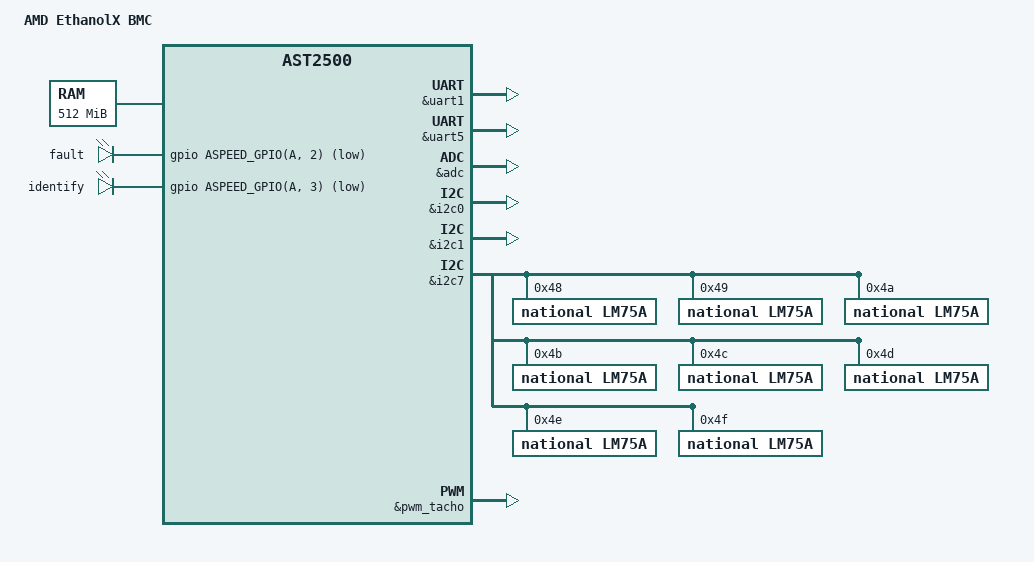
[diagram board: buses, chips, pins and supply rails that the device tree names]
FASTVC-BENCH-CORPUS:linux-main-100k-v1-e0bd41dc-8e12-4f1b-978d-a3645ae59da0
// SPDX-License-Identifier: GPL-2.0
// Copyright (c) 2020 AMD Inc.
// Author: Supreeth Venkatesh <supreeth.venkatesh@amd.com>
/dts-v1/;

#include "aspeed-g5.dtsi"
#include <dt-bindings/gpio/aspeed-gpio.h>

/ {
	model = "AMD EthanolX BMC";
	compatible = "amd,ethanolx-bmc", "aspeed,ast2500";

	memory@80000000 {
		reg = <0x80000000 0x20000000>;
/* bench 26730.0.0 5deec0b073e8 */
/* bench 26730.0.1 8fcf7ec41b2d */
/* bench 26730.0.2 946cabfab198 */
/* bench 26730.0.3 e2d413694dc7 */
/* bench 26730.0.4 314ecaf3927c */
/* bench 26730.0.5 b0099b393295 */
/* bench 26730.0.6 23c7b99d8a6a */
/* bench 26730.0.7 7b6b8dd8c392 */
/* bench 26730.0.8 72d9bf55c637 */
/* bench 26730.0.9 015c878cd2c8 */
/* bench 26730.0.10 45d12a799ee1 */
/* bench 26730.0.11 bee4b9d6593e */
/* bench 26730.0.12 d8d9813acc7a */

	reserved-memory {
		#address-cells = <1>;
		#size-cells = <1>;
		ranges;

		video_engine_memory: jpegbuffer {
			size = <0x02000000>;	/* 32M */
			alignment = <0x01000000>;
			compatible = "shared-dma-pool";
			reusable;
		};
	};


	aliases {
		serial0 = &uart1;
		serial4 = &uart5;
	};
	chosen {
		stdout-path = &uart5;
		bootargs = "console=ttyS4,115200 earlyprintk";
	};
	leds {
		compatible = "gpio-leds";

		fault {
			gpios = <&gpio ASPEED_GPIO(A, 2) GPIO_ACTIVE_LOW>;
		};

		identify {
			gpios = <&gpio ASPEED_GPIO(A, 3) GPIO_ACTIVE_LOW>;
		};
	};
	iio-hwmon {
		compatible = "iio-hwmon";
		io-channels = <&adc 0>, <&adc 1>, <&adc 2>, <&adc 3>, <&adc 4>;
	};
};

&fmc {
	status = "okay";
	flash@0 {
		status = "okay";
		m25p,fast-read;
		#include "openbmc-flash-layout.dtsi"
	};
};


&mac0 {
	status = "okay";

	pinctrl-names = "default";
	pinctrl-0 = <&pinctrl_rmii1_default>;
	clocks = <&syscon ASPEED_CLK_GATE_MAC1CLK>,
		 <&syscon ASPEED_CLK_MAC1RCLK>;
	clock-names = "MACCLK", "RCLK";
};

&uart1 {
	//Host Console
	status = "okay";
	pinctrl-names = "default";
	pinctrl-0 = <&pinctrl_txd1_default
		     &pinctrl_rxd1_default>;
};

&uart5 {
	//BMC Console
	status = "okay";
};

&adc {
	status = "okay";

	pinctrl-names = "default";
	pinctrl-0 = <&pinctrl_adc0_default
		     &pinctrl_adc1_default
		     &pinctrl_adc2_default
		     &pinctrl_adc3_default
		     &pinctrl_adc4_default>;
};

/* bench 19329.2.0 e3fb5b14e417 */
/* bench 19329.2.1 6d798ee67ddc */
/* bench 19329.2.2 2ea963cfa772 */
/* bench 19329.2.3 9c7baa3040df */
/* bench 19329.2.4 b3f1c7735d39 */
/* bench 19329.2.5 b975cf1df0eb */
/* bench 19329.2.6 2bfc14a5ca31 */
/* bench 19329.2.7 c6daf5efda9a */
/* bench 19329.2.8 1477b375c5cb */
/* bench 19329.2.9 4438f1d5f019 */
/* bench 19329.2.10 20f980c4cf65 */
/* bench 19329.2.11 e7c7a94420f9 */
&gpio {
	status = "okay";
	gpio-line-names =
	/*A0-A7*/	"","","FAULT_LED","CHASSIS_ID_LED","","","","",
	/*B0-B7*/	"","","","","","","","",
	/*C0-C7*/	"CHASSIS_ID_BTN","INTRUDER","AC_LOSS","","","","","",
	/*D0-D7*/	"HDT_DBREQ","LOCAL_SPI_ROM_SEL","FPGA_SPI_ROM_SEL","JTAG_MUX_S",
			"JTAG_MUX_OE","HDT_SEL","ASERT_WARM_RST_BTN","FPGA_RSVD",
	/*E0-E7*/	"","","MON_P0_PWR_BTN","MON_P0_RST_BTN","MON_P0_NMI_BTN",
			"MON_P0_PWR_GOOD","MON_PWROK","MON_RESET",
	/*F0-F7*/	"MON_P0_PROCHOT","MON_P1_PROCHOT","MON_P0_THERMTRIP",
			"MON_P1_THERMTRIP","P0_PRESENT","P1_PRESENT","MON_ATX_PWR_OK","",
	/*G0-G7*/	"BRD_REV_ID_3","BRD_REV_ID_2","BRD_REV_ID_1","BRD_REV_ID_0",
			"P0_APML_ALERT","P1_APML_ALERT","FPGA ALERT","",
	/*H0-H7*/	"BRD_ID_0","BRD_ID_1","BRD_ID_2","BRD_ID_3",
			"PCIE_DISCONNECTED","USB_DISCONNECTED","SPARE_0","SPARE_1",
	/*I0-I7*/	"","","","","","","","",
	/*J0-J7*/	"","","","","","","","",
	/*K0-K7*/	"","","","","","","","",
	/*L0-L7*/	"","","","","","","","",
	/*M0-M7*/	"ASSERT_PWR_BTN","ASSERT_RST_BTN","ASSERT_NMI_BTN",
			"ASSERT_LOCAL_LOCK","ASSERT_P0_PROCHOT","ASSERT_P1_PROCHOT",
			"ASSERT_CLR_CMOS","ASSERT_BMC_READY",
	/*N0-N7*/	"","","","","","","","",
	/*O0-O7*/	"","","","","","","","",
	/*P0-P7*/	"P0_VDD_CORE_RUN_VRHOT","P0_VDD_SOC_RUN_VRHOT",
			"P0_VDD_MEM_ABCD_SUS_VRHOT","P0_VDD_MEM_EFGH_SUS_VRHOT",
			"P1_VDD_CORE_RUN_VRHOT","P1_VDD_SOC_RUN_VRHOT",
			"P1_VDD_MEM_ABCD_SUS_VRHOT","P1_VDD_MEM_EFGH_SUS_VRHOT",
	/*Q0-Q7*/	"","","","","","","","",
	/*R0-R7*/	"","","","","","","","",
	/*S0-S7*/	"","","","","","","","",
	/*T0-T7*/	"","","","","","","","",
	/*U0-U7*/	"","","","","","","","",
	/*V0-V7*/	"","","","","","","","",
	/*W0-W7*/	"","","","","","","","",
	/*X0-X7*/	"","","","","","","","",
	/*Y0-Y7*/	"","","","","","","","",
	/*Z0-Z7*/	"","","","","","","","",
	/*AA0-AA7*/	"","SENSOR THERM","","","","","","",
	/*AB0-AB7*/	"","","","","","","","",
	/*AC0-AC7*/	"","","","","","","","";
};

//APML for P0
&i2c0 {
	status = "okay";
};

//APML for P1
&i2c1 {
	status = "okay";
};

// Thermal Sensors
&i2c7 {
	status = "okay";

	lm75a@48 {
		compatible = "national,lm75a";
		reg = <0x48>;
	};

	lm75a@49 {
		compatible = "national,lm75a";
		reg = <0x49>;
	};

	lm75a@4a {
		compatible = "national,lm75a";
		reg = <0x4a>;
	};

	lm75a@4b {
		compatible = "national,lm75a";
		reg = <0x4b>;
	};

	lm75a@4c {
		compatible = "national,lm75a";
		reg = <0x4c>;
	};

	lm75a@4d {
		compatible = "national,lm75a";
		reg = <0x4d>;
	};

	lm75a@4e {
		compatible = "national,lm75a";
		reg = <0x4e>;
	};

	lm75a@4f {
		compatible = "national,lm75a";
		reg = <0x4f>;
	};
};

&kcs1 {
	status = "okay";
	aspeed,lpc-io-reg = <0x60>;
};

&kcs2 {
	status = "okay";
	aspeed,lpc-io-reg = <0x62>;
};

&kcs3 {
	status = "okay";
	aspeed,lpc-io-reg = <0xCA2>;
};

&kcs4 {
	status = "okay";
	aspeed,lpc-io-reg = <0x97DE>;
};

&lpc_snoop {
	status = "okay";
	snoop-ports = <0x80>, <0x81>;
};

&lpc_ctrl {
	//Enable lpc clock
	status = "okay";
};

&pwm_tacho {
	status = "okay";
	pinctrl-names = "default";
	pinctrl-0 = <&pinctrl_pwm0_default
	&pinctrl_pwm1_default
	&pinctrl_pwm2_default
	&pinctrl_pwm3_default
	&pinctrl_pwm4_default
	&pinctrl_pwm5_default
	&pinctrl_pwm6_default
	&pinctrl_pwm7_default>;

	fan@0 {
		reg = <0x00>;
		aspeed,fan-tach-ch = /bits/ 8 <0x00>;
	};

	fan@1 {
		reg = <0x01>;
		aspeed,fan-tach-ch = /bits/ 8 <0x01>;
	};

	fan@2 {
		reg = <0x02>;
		aspeed,fan-tach-ch = /bits/ 8 <0x02>;
	};

	fan@3 {
		reg = <0x03>;
		aspeed,fan-tach-ch = /bits/ 8 <0x03>;
	};

	fan@4 {
		reg = <0x04>;
		aspeed,fan-tach-ch = /bits/ 8 <0x04>;
	};

	fan@5 {
		reg = <0x05>;
		aspeed,fan-tach-ch = /bits/ 8 <0x05>;
	};

	fan@6 {
		reg = <0x06>;
		aspeed,fan-tach-ch = /bits/ 8 <0x06>;
	};

	fan@7 {
		reg = <0x07>;
		aspeed,fan-tach-ch = /bits/ 8 <0x07>;
	};
};

&video {
	status = "okay";
	memory-region = <&video_engine_memory>;
};

&vhub {
	status = "okay";
};

